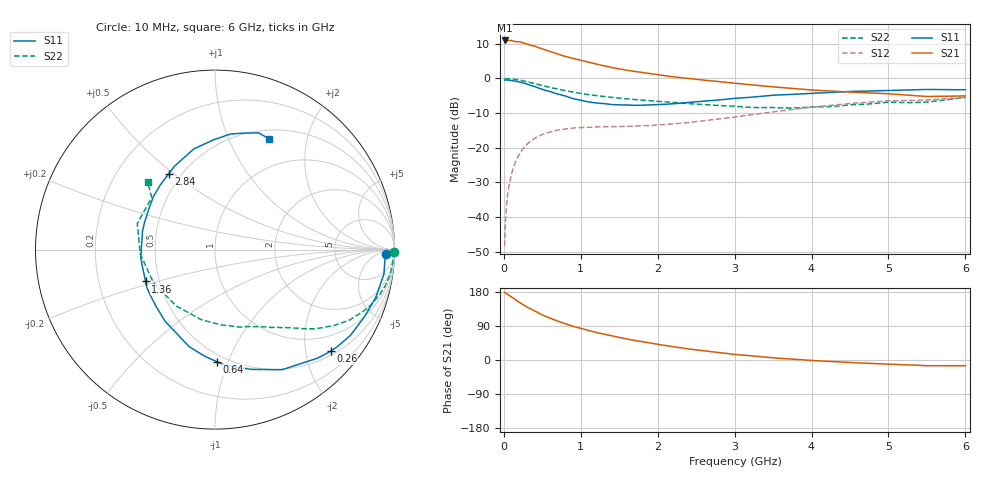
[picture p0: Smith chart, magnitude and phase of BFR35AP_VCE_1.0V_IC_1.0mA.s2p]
! Infineon Technologies  Discrete & RF Semiconductors
! BFR35AP
! VCE =  1.0 V,  IC =  1.0 mA
! Common Emitter S-Parameters:  Nov 2015
# GHz  S  MA  R  50
!  f  S11  S21  S12  S22
! GHz  MAG  ANG  MAG  ANG  MAG  ANG  MAG  ANG
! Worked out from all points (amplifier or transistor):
!   210 points, 10 MHz to 6 GHz, reference 50 ohm
!   highest |S21| = 11.0 dB at 10 MHz (marker M1)
!   |S21| within 3 dB of that: start of sweep to 575.2 MHz
!   unconditionally stable (mu >= 1): 1.341 GHz to end of sweep
!   at 185 MHz: K = 0.17, MSG = 16.6 dB, |S12| = -22.5 dB
!   at 1.52 GHz: K = 1.10, MAG = 6.4 dB, |S12| = -13.9 dB
!   at 6 GHz: K = 1.09, MAG = -1.6 dB, |S12| = -5.5 dB
!   S11 on the Smith chart (normalised r, x): 10 MHz: 31, -18; 260 MHz: 0.59, -2.53; 640 MHz: 0.45, -0.91; 1.36 GHz: 0.42, -0.18; 2.84 GHz: 0.43, +0.48; 6 GHz: 0.61, +1.42
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0.01  0.9532 -1.6  3.537 179.0  0.0038 86.4  0.9999 -0.8
0.02  0.9484 -3.2  3.464 177.1  0.0081 86.8  0.9912 -1.6
0.03  0.9485 -4.9  3.485 175.7  0.0125 85.8  0.9916 -2.4
0.05  0.9511 -8.2  3.532 173.1  0.0212 85.0  0.993 -4.0
0.075  0.9402 -12.4  3.527 169.7  0.0316 81.5  0.9883 -6.0
0.1  0.9344 -16.6  3.535 166.4  0.0421 79.8  0.9848 -8.1
0.15  0.9132 -24.1  3.399 158.9  0.0618 74.5  0.9701 -12.0
0.2  0.8934 -32.3  3.391 152.3  0.0801 69.7  0.9494 -15.6
0.26  0.8582 -41.3  3.253 144.7  0.0998 64.2  0.9185 -19.8
0.4  0.7663 -60.9  2.928 129.3  0.1371 53.8  0.8463 -27.6
0.5  0.6974 -73.1  2.678 118.7  0.1555 47.4  0.7894 -32.3
0.64  0.6255 -88.9  2.369 107.4  0.1733 40.5  0.7256 -37.1
0.8  0.5588 -105.1  2.08 95.5  0.1873 34.7  0.6665 -41.4
1.02  0.4799 -126.8  1.807 82.1  0.1955 29.6  0.6027 -46.2
1.36  0.4255 -155.4  1.469 65.6  0.2014 25.5  0.5404 -53.3
1.7  0.4097 178.0  1.269 51.6  0.205 25.7  0.4962 -60.0
2.02  0.4206 159.0  1.126 40.8  0.2146 27.8  0.4646 -67.2
2.84  0.4951 121.1  0.892 18.6  0.2643 32.0  0.4042 -94.0
3.1  0.525 112.9  0.833 13.1  0.2878 31.6  0.3896 -105.3
4.1  0.6174 89.2  0.672 -2.2  0.3944 24.4  0.3885 -156.8
5.1  0.6746 74.3  0.591 -11.7  0.4775 10.6  0.4517 157.3
6  0.6868 64.0  0.56 -15.1  0.5329 0.2  0.5312 135.0
